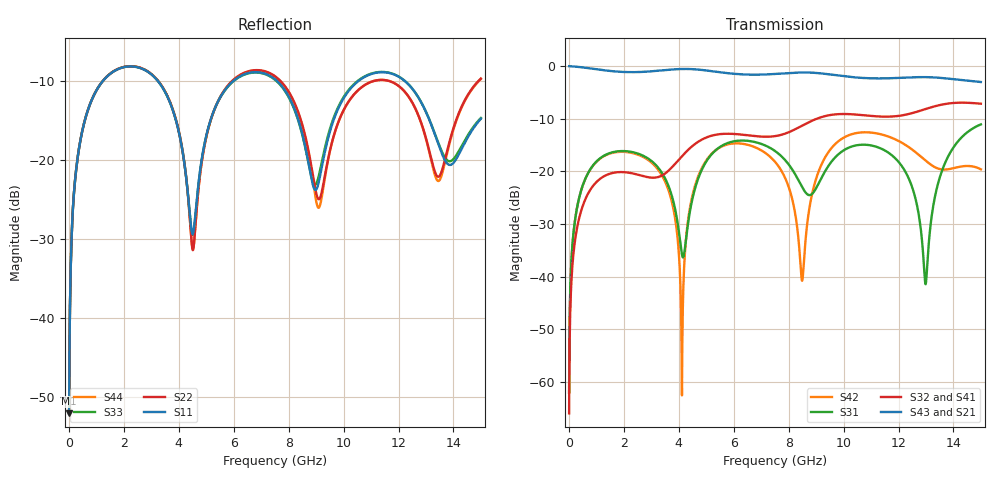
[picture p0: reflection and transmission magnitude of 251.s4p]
! Created with skrf 1.8.0 (http://scikit-rf.org).
# GHz S RI R 50.0
!freq ReS11 ImS11 ReS12 ImS12 ReS13 ImS13
! ReS14 ImS14
! ReS21 ImS21 ReS22 ImS22 ReS23 ImS23
! ReS24 ImS24
! ReS31 ImS31 ReS32 ImS32 ReS33 ImS33
! ReS34 ImS34
! ReS41 ImS41 ReS42 ImS42 ReS43 ImS43
! ReS44 ImS44
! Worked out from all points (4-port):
!   2499 points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, 5 MHz to 15 GHz, reference 50 ohm
!   strongest paths, dB at 5 MHz, 3.476 GHz, 7.19 GHz, 11.1 GHz, 15 GHz:
!     S43: 0.0, -0.8, -1.6, -2.3, -3.0
!     S21: 0.0, -0.8, -1.6, -2.3, -3.0
!     S32: -66.0, -20.5, -13.4, -9.5, -7.1
!     S41: -66.0, -20.5, -13.5, -9.5, -7.1
!     S31: -62.1, -21.1, -15.2, -15.2, -11.1
!     S42: -62.1, -21.7, -16.7, -12.7, -19.6
!   lowest |S11| = -52.1 dB at 5 MHz (marker M1), VSWR 1.01, Z = 50.2 + j0.152 ohm
!   |S11| at or under -10 dB: 3.246 GHz to 5.972 GHz (2.726 GHz wide, 59.1 % of centre); 7.586 GHz to 10.53 GHz (2.944 GHz wide, 32.5 % of centre); 12.24 GHz to end of sweep (the widest 3 of 4)
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0.005  0.00199 0.00151  0.998 -0.00387  0.000101 0.000783  -9.79e-05 -0.000492
       0.998 -0.00387  0.00199 0.00151  -9.79e-05 -0.000492  0.000101 0.000783
       0.000101 0.000783  -9.79e-05 -0.000492  0.00199 0.00151  0.998 -0.00387
       -9.79e-05 -0.000492  0.000101 0.000783  0.998 -0.00387  0.00199 0.00151
1.369321  0.2912 0.1693  0.5015 -0.755  0.1357 0.051  -0.0923 0.00154
          0.5015 -0.755  0.2926 0.1681  -0.0923 0.00157  0.1318 0.0569
          0.1357 0.051  -0.0923 0.00157  0.2911 0.1693  0.5015 -0.755
          -0.0923 0.00154  0.1318 0.0569  0.5015 -0.755  0.2926 0.1681
4.107962  0.0623 -0.1042  -0.8766 -0.335  -0.0144 -0.00814  -0.0453 0.131
          -0.8766 -0.335  0.0563 -0.1091  -0.045 0.1311  -0.000561 -0.000822
          -0.0144 -0.00814  -0.045 0.1311  0.0622 -0.1045  -0.8765 -0.3352
          -0.0453 0.131  -0.000561 -0.000822  -0.8765 -0.3352  0.0566 -0.1092
5.189662  0.1241 0.1403  -0.8155 0.3693  0.1036 0.1009  0.118 0.1829
          -0.8155 0.3693  0.119 0.1433  0.1185 0.1828  0.1012 0.1054
          0.1036 0.1009  0.1185 0.1828  0.123 0.1399  -0.8158 0.369
          0.118 0.1829  0.1012 0.1054  -0.8158 0.369  0.1192 0.1424
9.078783  0.067 0.0226  0.8503 0.1078  -0.0329 0.0681  0.0317 -0.319
          0.8503 0.1078  0.056 -0.00951  0.0292 -0.3186  0.047 0.0858
          -0.0329 0.0681  0.0292 -0.3186  0.0726 0.0264  0.8504 0.107
          0.0317 -0.319  0.047 0.0858  0.8504 0.107  0.0496 -0.00663
12.98666  0.1551 -0.1333  -0.6125 -0.4915  0.00839 -0.000964  -0.2378 0.3103
          -0.6125 -0.4915  0.1165 -0.079  -0.2355 0.3119  -0.1 -0.0774
          0.00839 -0.000964  -0.2355 0.3119  0.157 -0.132  -0.612 -0.4923
          -0.2378 0.3103  -0.1 -0.0774  -0.612 -0.4923  0.1141 -0.0794
15  0.1679 0.0728  -0.5325 0.4625  0.2623 -0.0961  0.3228 0.2992
    -0.5325 0.4625  0.2919 0.1524  0.3242 0.2961  0.0838 0.0624
    0.2623 -0.0961  0.3242 0.2961  0.1726 0.0672  -0.5337 0.4616
    0.3228 0.2992  0.0838 0.0624  -0.5337 0.4616  0.2851 0.1593
